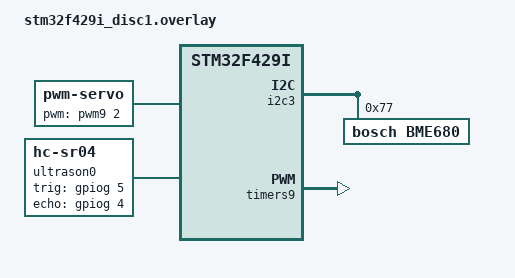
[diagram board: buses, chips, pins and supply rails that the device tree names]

/ {
    servo: servo {
        compatible = "pwm-servo";
        pwms = <&pwm9 2 PWM_MSEC(20) PWM_POLARITY_NORMAL>;
        min-pulse = <PWM_USEC(700)>;
        max-pulse = <PWM_USEC(2500)>;
    };

    ultrason0: hc-sr04 {
        compatible = "zephyr,hc-sr04";
        trig-gpios = <&gpiog 5 GPIO_ACTIVE_HIGH>;
        echo-gpios = <&gpiog 4 GPIO_ACTIVE_HIGH>;
        status = "okay";
    };

    aliases {
        led0 = &green_led_3;
        led1 = &red_led_4;
    };

    chosen {
        perso,bme680 = &bme680;
    };
};


&i2c3 {
    bme680: bme680@77 {
        compatible = "bosch,bme680";
        reg = <0x77>;
        label = "BME680";
    };
};

&timers9 {
    status = "okay";
    st,prescaler = <1000>;

    pwm9: pwm {
        status = "okay";
        pinctrl-0 = <&tim9_ch2_pe6>;
        pinctrl-names = "default";
    };
};

